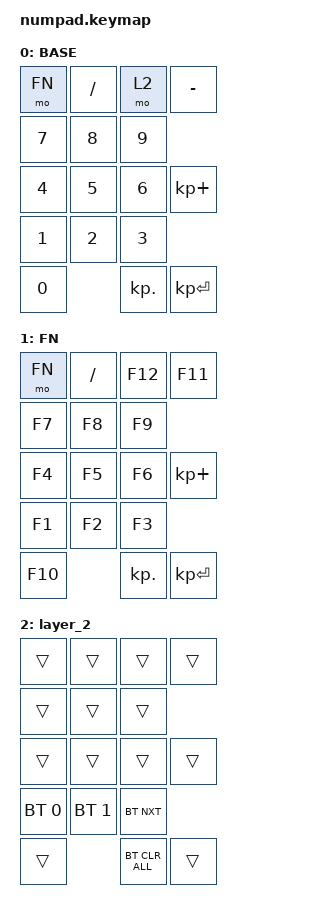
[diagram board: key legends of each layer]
#include <behaviors.dtsi>
#include <dt-bindings/zmk/bt.h>
#include <dt-bindings/zmk/keys.h>

#define BASE 0
#define FN 1

/ {
    combos {
        compatible = "zmk,combos";

        st {
            bindings = <&kp BACKSPACE>;
            key-positions = <7 8>;
        };

        down {
            bindings = <&kp DOWN_ARROW>;
            key-positions = <12 14>;
        };

        up {
            bindings = <&kp UP_ARROW>;
            key-positions = <14 5>;
        };

        left {
            bindings = <&kp LEFT_ARROW>;
            key-positions = <14 7>;
        };

        right {
            bindings = <&kp RIGHT_ARROW>;
            key-positions = <14 9>;
        };
    };

    keymap {
        compatible = "zmk,keymap";

        default_layer {
            label = "BASE";
            bindings = <
&mo FN  &kp SLASH  &mo 2       &kp MINUS
&kp N7  &kp N8     &kp N9
&kp N4  &kp N5     &kp N6      &kp KP_PLUS
&kp N1  &kp N2     &kp N3
&kp N0             &kp KP_DOT  &kp KP_ENTER
            >;
        };

        fn_layer {
            label = "FN";
            bindings = <
&mo FN   &kp SLASH  &kp F12     &kp F11
&kp F7   &kp F8     &kp F9
&kp F4   &kp F5     &kp F6      &kp KP_PLUS
&kp F1   &kp F2     &kp F3
&kp F10             &kp KP_DOT  &kp KP_ENTER
            >;
        };

        layer_2 {
            bindings = <
&trans        &trans        &trans          &trans
&trans        &trans        &trans
&trans        &trans        &trans          &trans
&bt BT_SEL 0  &bt BT_SEL 1  &bt BT_NXT
&trans                      &bt BT_CLR_ALL  &trans
            >;
        };
    };
};
